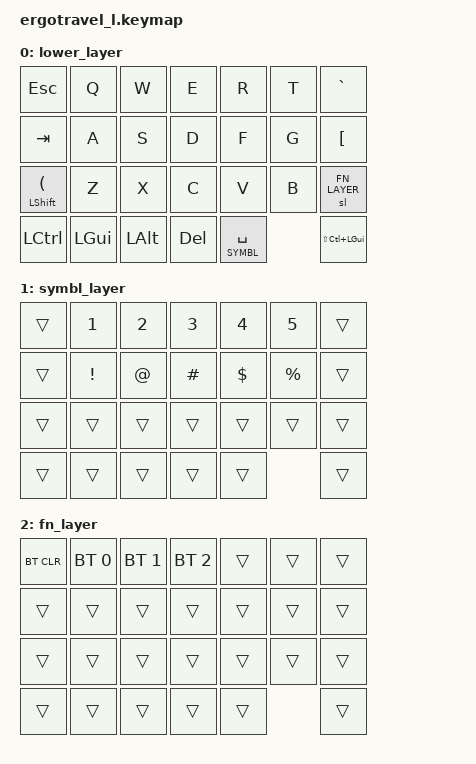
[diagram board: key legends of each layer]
/*
 * Copyright (c) 2020 The ZMK Contributors
 *
 * SPDX-License-Identifier: MIT
 */

#include <behaviors.dtsi>
#include <dt-bindings/zmk/keys.h>
#include <dt-bindings/zmk/bt.h>
#include <dt-bindings/zmk/ext_power.h>

#define LOWER 0
#define SYMBL 1
#define FN_LAYER 2
#define HYPER LS(LC(LGUI))
&lt { tapping_term_ms = <300>; };
&mt { tapping_term_ms = <300>; };
&sl { release-after-ms = <2000>; };

/ {
	keymap {
		compatible = "zmk,keymap";

		lower_layer {
    bindings = <
&kp ESC         &kp Q     &kp W      &kp E    &kp R  &kp T    &kp GRAVE
&kp TAB         &kp A     &kp S      &kp D    &kp F  &kp G    &kp LBKT
&mt LSHFT LPAR  &kp Z     &kp X      &kp C    &kp V  &kp B    &sl FN_LAYER
&kp LCTL        &kp LGUI  &kp LALT   &kp DEL  &lt SYMBL SPACE &kp HYPER
>;
		};

    symbl_layer {
    bindings = <
&trans          &kp N1  &kp N2  &kp N3   &kp N4   &kp N5    &trans
&trans          &kp EXCL &kp AT &kp HASH &kp DLLR &kp PRCNT &trans
&trans          &trans  &trans  &trans   &trans  &trans     &trans
&trans          &trans  &trans  &trans   &trans  &trans
>;
    		};


  fn_layer {
    bindings = <
&bt BT_CLR      &bt BT_SEL 0 &bt BT_SEL 1 &bt BT_SEL 2 &trans  &trans  &trans
&trans          &trans       &trans       &trans       &trans  &trans  &trans
&trans          &trans       &trans       &trans       &trans  &trans  &trans
&trans          &trans       &trans       &trans       &trans  &trans
>;
        };


	};
};
